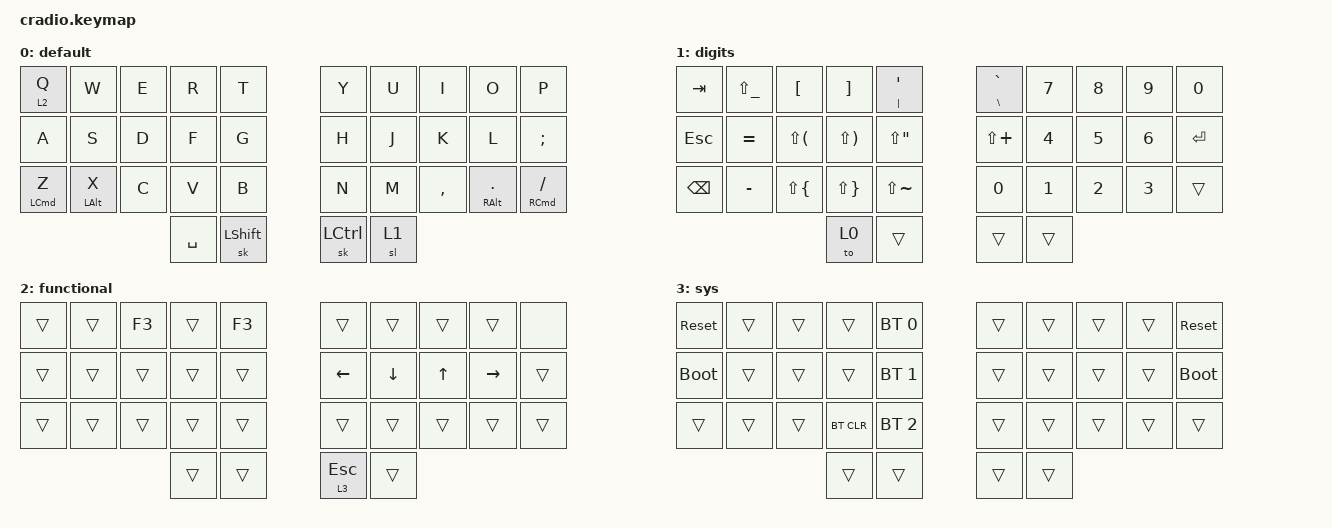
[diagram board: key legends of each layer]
// Copyright (c) 2022 The ZMK Contributors
// SPDX-License-Identifier: MIT

#include <behaviors.dtsi>
#include <dt-bindings/zmk/bt.h>
#include <dt-bindings/zmk/keys.h>

/ {
    behaviors {
        ht: hold_tap {
            compatible = "zmk,behavior-hold-tap";
            #binding-cells = <2>;
            flavor = "tap-preferred";
            tapping-term-ms = <220>;
            quick-tap-ms = <150>;
            require-prior-idle-ms = <100>;
            bindings = <&kp>, <&kp>;
        };
    };

    conditional_layers {
        compatible = "zmk,conditional-layers";
    };

    keymap {
        compatible = "zmk,keymap";

        default_layer {
            bindings = <
&lt 2 Q             &kp W           &kp E  &kp R      &kp T             &kp Y             &kp U  &kp I      &kp O              &kp P
&kp A               &kp S           &kp D  &kp F      &kp G             &kp H             &kp J  &kp K      &kp L              &kp SEMICOLON
&ht LEFT_COMMAND Z  &ht LEFT_ALT X  &kp C  &kp V      &kp B             &kp N             &kp M  &kp COMMA  &ht RIGHT_ALT DOT  &ht RIGHT_COMMAND SLASH
                                           &kp SPACE  &sk LEFT_SHIFT    &sk LEFT_CONTROL  &sl 1
            >;

            label = "default";
        };

        digits_layer {
            bindings = <
&kp TAB   &kp LS(UNDER)  &kp LBKT      &kp RBKT      &mt PIPE SINGLE_QUOTE    &mt BACKSLASH GRAVE  &kp N7        &kp N8  &kp N9  &kp N0
&kp ESC   &kp EQUAL      &kp LS(LPAR)  &kp LS(RPAR)  &kp LS(DQT)              &kp LS(PLUS)         &kp NUMBER_4  &kp N5  &kp N6  &kp RET
&kp BSPC  &kp MINUS      &kp LS(LBRC)  &kp LS(RBRC)  &kp LS(TILDE)            &kp N0               &kp N1        &kp N2  &kp N3  &trans
                                       &to 0         &trans                   &trans               &trans
            >;

            label = "digits";
        };

        functional_layer {
            bindings = <
&trans  &trans  &kp F3  &trans  &kp F3    &trans        &trans    &trans  &trans     &none
&trans  &trans  &trans  &trans  &trans    &kp LEFT      &kp DOWN  &kp UP  &kp RIGHT  &trans
&trans  &trans  &trans  &trans  &trans    &trans        &trans    &trans  &trans     &trans
                        &trans  &trans    &lt 3 ESCAPE  &trans
            >;

            label = "functional";
        };

        system_layer {
            bindings = <
&sys_reset   &trans  &trans  &trans      &bt BT_SEL 0    &trans  &trans  &trans  &trans  &sys_reset
&bootloader  &trans  &trans  &trans      &bt BT_SEL 1    &trans  &trans  &trans  &trans  &bootloader
&trans       &trans  &trans  &bt BT_CLR  &bt BT_SEL 2    &trans  &trans  &trans  &trans  &trans
                             &trans      &trans          &trans  &trans
            >;

            label = "sys";
        };
    };
};
